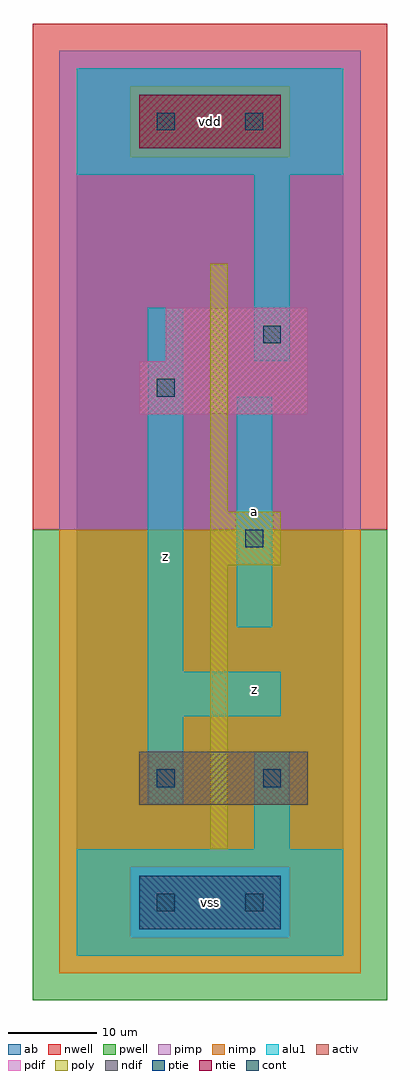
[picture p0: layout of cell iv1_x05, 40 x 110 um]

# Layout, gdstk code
import gdstk
lib = gdstk.Library(unit=1e-6, precision=1e-09)
def R(c, l, rs):  # rectangles x0, y0, x1, y1
    for r in rs: c.add(gdstk.rectangle(r[:2], r[2:], *l))
ndif = (3, 0)
pdif = (4, 0)
ntie = (5, 0)
ptie = (6, 0)
cont = (25, 0)
pwell = (41, 0)
nwell = (42, 0)
activ = (43, 0)
pimp = (44, 0)
nimp = (45, 0)
poly = (46, 0)
alu1 = (49, 0)
ab = (63, 0)

iv1_x05 = lib.new_cell('iv1_x05')
R(iv1_x05, ndif, [(7,17,26,23)])
R(iv1_x05, pdif, [(7,61,26,67), (10,67,26,73)])
R(iv1_x05, ntie, [(7,91,23,97)])
R(iv1_x05, ptie, [(7,3,23,9)])
R(iv1_x05, cont, [(9,5,11,7), (19,5,21,7), (9,19,11,21), (21,19,23,21), (19,46,21,48), (9,63,11,65), (21,69,23,71), (9,93,11,95), (19,93,21,95)])
R(iv1_x05, pwell, [(-5,-5,35,48)])
R(iv1_x05, nwell, [(-5,48,35,105)])
R(iv1_x05, activ, [(7,3,23,9), (7,17,26,23), (7,61,26,67), (10,67,26,73), (7,91,23,97)])
R(iv1_x05, pimp, [(6,2,24,10), (-2,48,32,90), (-2,90,6,98), (24,90,32,98), (-2,98,32,102)])
R(iv1_x05, nimp, [(-2,-2,32,2), (-2,2,6,10), (24,2,32,10), (-2,10,32,48), (6,90,24,98)])
R(iv1_x05, poly, [(15,12,17,44), (15,44,23,50), (15,50,17,78)])
R(iv1_x05, alu1, [(0,0,30,12), (20,12,24,23), (8,17,12,27), (8,27,23,32), (8,32,12,73), (18,37,22,63), (20,67,24,88), (0,88,30,100)])
R(iv1_x05, ab, [(0,0,30,100)])
iv1_x05.add(gdstk.Label('vss', (15,6), layer=49, texttype=0))
iv1_x05.add(gdstk.Label('z', (10,45), layer=49, texttype=0))
iv1_x05.add(gdstk.Label('vdd', (15,94), layer=49, texttype=0))
iv1_x05.add(gdstk.Label('z', (20,30), layer=49, texttype=0))
iv1_x05.add(gdstk.Label('a', (20,50), layer=49, texttype=0))

lib.write_gds('iv1_x05.gds')
